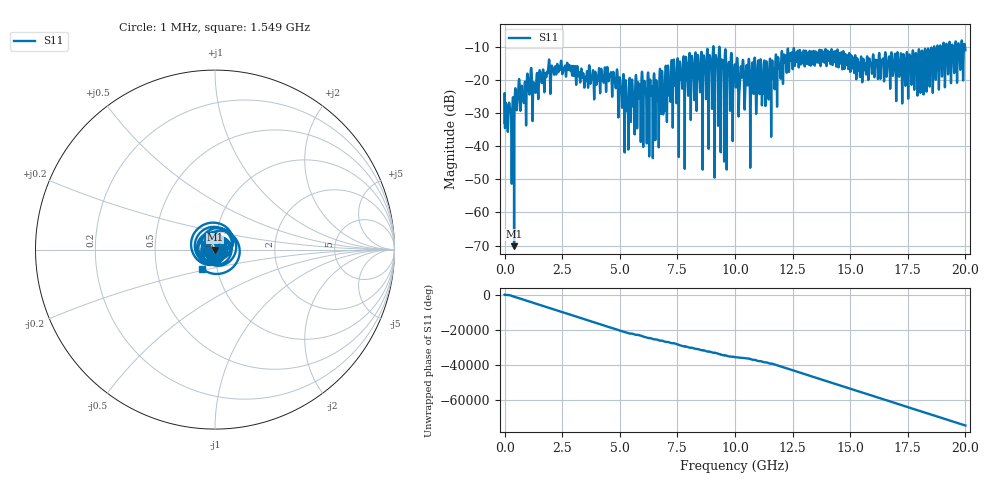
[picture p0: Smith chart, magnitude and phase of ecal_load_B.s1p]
! MS46122B
! 2250307/22442219
! 6/13/2025 8:39:48 AM
! C:\USERS\SPARKY\DOCUMENTS\VNA_DATA\JUNE13_2025\ECAL_LOAD_B.S1P
! CHANNEL.1
! TR.MEASUREMENT
! RAW.DATA
# GHZ S RI R 50.0
! FREQ.GHZ  S11RE  S11IM
!; PortSelection: Port_1
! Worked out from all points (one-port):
!   10001 points, 1 MHz to 20 GHz, reference 50 ohm
!   lowest |S11| = -70.2 dB at 413 MHz (marker M1), VSWR 1.00, Z = 50 + j0.0111 ohm
!   |S11| at or under -10 dB: start of sweep to 9.055 GHz; 9.07 GHz to 9.321 GHz (250.9 MHz wide, 2.73 % of centre); 9.327 GHz to 18.64 GHz (9.31 GHz wide, 66.6 % of centre) (the widest 3 of 14)
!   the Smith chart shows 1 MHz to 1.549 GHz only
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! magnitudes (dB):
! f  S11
! 1 MHz  -33.0
! 333 MHz  -30.1
! 413 MHz  -70.2
! 551 MHz  -27.4
! 857 MHz  -23.2
! 1.075 GHz  -24.3
! 1.285 GHz  -21.5
! 1.863 GHz  -17.6
! 2.501 GHz  -18.1
! 4.535 GHz  -18.9
! 5.001 GHz  -19.3
! 5.293 GHz  -26.4
! 5.487 GHz  -30.0
! 5.563 GHz  -23.2
! 6.029 GHz  -28.1
! 6.095 GHz  -22.8
! 6.615 GHz  -23.7
! 7.061 GHz  -21.0
! 7.501 GHz  -13.8
! 8.087 GHz  -24.8
! 8.933 GHz  -14.0
! 8.991 GHz  -20.3
! 10 GHz  -15.3
! 11.49 GHz  -16.3
! 12.5 GHz  -16.5
! 15 GHz  -17.2
! 17.5 GHz  -17.6
! 20 GHz  -11.0
